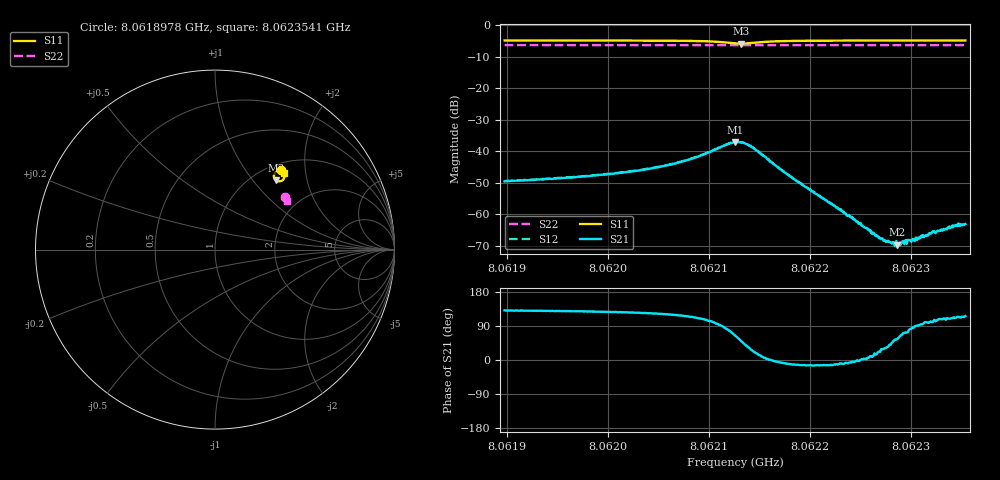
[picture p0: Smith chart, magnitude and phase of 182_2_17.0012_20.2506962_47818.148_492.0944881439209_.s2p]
#  HZ  S  RI  R  50.00
! Rohde & Schwarz Vector Network Analyzer
! Rohde-Schwarz,ZNB20-2Port,1311601062101988,3.16
! Created: UTC 3/20/2024, 11:00:12 PM
! freq[Hz]  re:S11  im:S11  re:S21  im:S21  re:S12  im:S12  re:S22  im:S22
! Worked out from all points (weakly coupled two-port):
!   401 points, 8.0618978 GHz to 8.0623541 GHz, reference 50 ohm
!   highest |S21| = -37.05 dB at 8.0621259 GHz (marker M1); lowest = -69.6 dB at 8.0622868 GHz (marker M2)
!   lowest |S11| = -5.8 dB at 8.0621316 GHz (marker M3), VSWR 3.12, Z = 62.8 + j65.9 ohm
!   |S11| at or under -10 dB: nowhere
!   |S22| runs from -6.3 to -6.3 dB; largest |S21 - S12| = 0.00099
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8.06189776e9  0.3696 0.4414  -0.00219 0.00252  -0.00202 0.00268  0.3874 0.2936
8.06197419e9  0.3759 0.4354  -0.00248 0.00312  -0.0023 0.00331  0.3901 0.2898
8.06201412e9  0.3796 0.4311  -0.00271 0.00372  -0.00252 0.00392  0.3915 0.2878
8.06205063e9  0.3836 0.4249  -0.00299 0.00477  -0.00273 0.00502  0.3926 0.2858
8.062086e9  0.3873 0.4119  -0.003 0.00733  -0.00259 0.00757  0.3938 0.2834
8.06211908e9  0.3682 0.382  0.00237 0.0129  0.00323 0.0128  0.3935 0.2811
8.06212592e9  0.3526 0.3804  0.00605 0.0127  0.00688 0.0124  0.393 0.2808
8.06213163e9  0.3391 0.3864  0.00879 0.0108  0.00948 0.0103  0.3927 0.2811
8.06214304e9  0.328 0.4118  0.0105 0.00491  0.0108 0.00409  0.393 0.2816
8.06217384e9  0.352 0.4389  0.00474 -0.000682  0.00473 -0.000995  0.3955 0.2811
8.06220236e9  0.3649 0.4388  0.00224 -0.000569  0.00221 -0.00071  0.3969 0.2796
8.06224229e9  0.3736 0.4357  0.000853 -6.1e-05  0.000883 -0.000147  0.3986 0.2776
8.06226282e9  0.3766 0.434  0.000505 9.25e-05  0.00048 5.67e-05  0.3991 0.2764
8.06227309e9  0.3778 0.4331  0.000329 0.000188  0.000352 0.000183  0.3996 0.2759
8.06227879e9  0.3784 0.4328  0.000277 0.000234  0.000299 0.000215  0.3998 0.2757
8.06228678e9  0.3793 0.4323  0.000185 0.000273  0.000207 0.000264  0.4001 0.2752
8.06229248e9  0.3799 0.4318  0.000125 0.000355  0.000149 0.000335  0.4002 0.275
8.06229819e9  0.3805 0.4315  7.04e-05 0.000385  9.41e-05 0.000338  0.4004 0.2745
8.06230617e9  0.3811 0.4309  -6.12e-06 0.000392  2.17e-05 0.000421  0.4007 0.2743
8.06232101e9  0.3826 0.43  -8.96e-05 0.000508  -5.45e-05 0.000516  0.4011 0.2734
8.06233584e9  0.3838 0.429  -0.000204 0.000544  -0.000212 0.000579  0.4017 0.2727
8.06235409e9  0.3854 0.428  -0.000305 0.000633  -0.000279 0.000685  0.4023 0.2718
